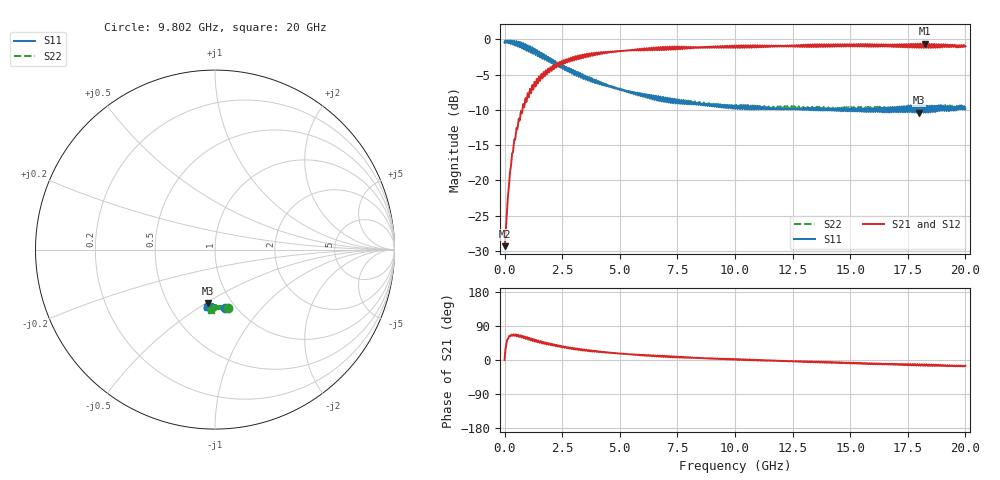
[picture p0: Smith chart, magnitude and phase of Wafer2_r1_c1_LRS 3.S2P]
!  2-Port S-parameters saved by WinCal
! VAR MeasName=S-Parameters (CALIBRATED_DATA) read from VNA (P5004A)
! VAR MeasDate=24/04/2024 17:32:14
! VAR NAME=Wafer2_r1_c1_LRS 3
! VAR FILENAME=Wafer2_r1_c1_LRS 3.S2P
! VAR DATE=24/04/2024 17:32:14
! VAR PHYS_PORTS=1,2
! VAR ObjTypeName=DATASET
! VAR IndexType=Frequency
# Hz S MA R 50
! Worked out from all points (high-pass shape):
!   4999 points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, 4.01 MHz to 20 GHz, reference 50 ohm
!   highest |S21| = -0.62 dB at 18.24 GHz (marker M1); lowest = -29.3 dB at 8.011 MHz (marker M2)
!   |S21| within 3 dB of the highest: 2.35 GHz to 2.42 GHz (70.14 MHz wide, 2.94 % of centre); 2.437 GHz to end of sweep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
!   lowest |S11| = -10.4 dB at 17.98 GHz (marker M3), VSWR 1.86, Z = 39 - j25.7 ohm
!   |S11| at or under -10 dB: 15.17026 GHz to 15.22374 GHz (53.48 MHz wide, 0.352 % of centre); 15.27103 GHz to 15.32359 GHz (52.55 MHz wide, 0.344 % of centre); 15.6671 GHz to 15.72529 GHz (58.19 MHz wide, 0.371 % of centre)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
!   |S22| runs from -10.1 to -0.2 dB; largest |S21 - S12| = 0.015
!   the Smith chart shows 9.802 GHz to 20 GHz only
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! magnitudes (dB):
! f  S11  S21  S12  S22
! 4.01 MHz  -0.4  -29.3  -29.2  -0.4
! 8.011 MHz  -0.5  -29.3  -29.2  -0.5
! 76.02 MHz  -0.4  -26.2  -26.2  -0.4
! 164 MHz  -0.4  -21.8  -21.8  -0.4
! 228.1 MHz  -0.2  -19.1  -19.1  -0.2
! 304.1 MHz  -0.4  -17.1  -17.1  -0.4
! 372.1 MHz  -0.7  -15.8  -15.8  -0.7
! 480.1 MHz  -0.8  -13.8  -13.7  -0.8
! 620.1 MHz  -0.4  -11.2  -11.3  -0.4
! 924.2 MHz  -0.9  -8.5  -8.5  -0.9
! 1.28 GHz  -1.6  -6.5  -6.5  -1.6
! 1.78 GHz  -2.4  -4.6  -4.6  -2.4
! 2.432 GHz  -4.0  -3.6  -3.7  -4.0
! 3.341 GHz  -5.3  -2.6  -2.6  -5.3
! 4.797 GHz  -6.9  -1.7  -1.7  -6.8
! 6.673 GHz  -8.1  -1.1  -1.1  -8.2
! 10 GHz  -9.7  -1.2  -1.2  -9.6
! 13.33 GHz  -9.8  -1.0  -1.0  -9.7
! 16.67 GHz  -10.2  -0.9  -0.9  -9.7
! 17.98 GHz  -10.4  -1.2  -1.2  -9.9
! 18.24 GHz  -9.4  -0.6  -0.6  -9.5
! 20 GHz  -9.9  -1.0  -1.0  -9.5
